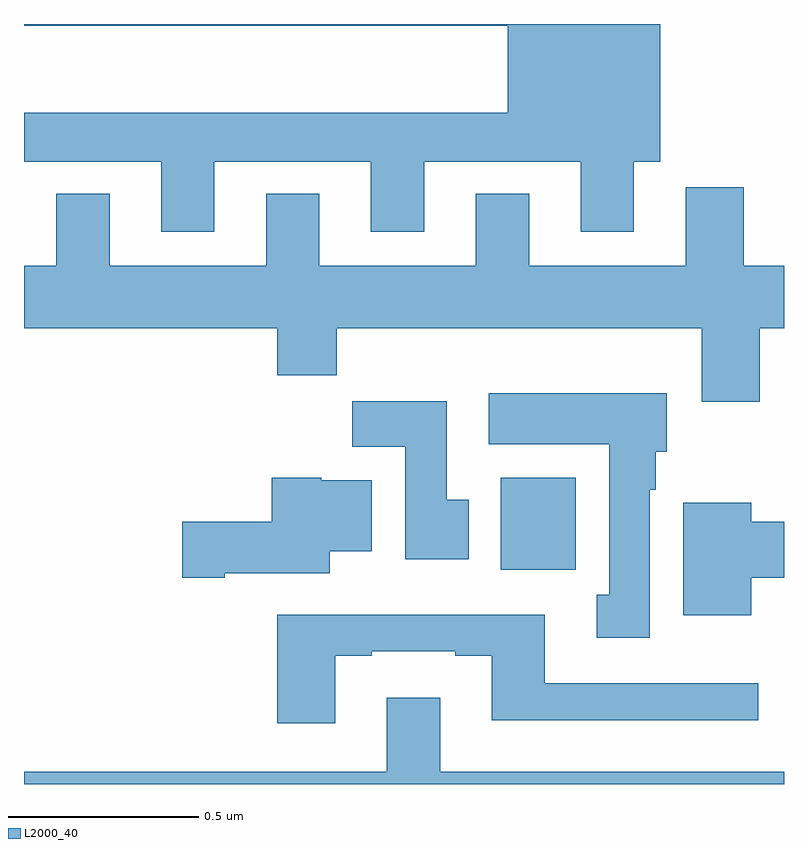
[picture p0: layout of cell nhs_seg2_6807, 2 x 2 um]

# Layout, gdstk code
import gdstk
lib = gdstk.Library(unit=1e-6, precision=1e-09)
def R(c, l, rs):  # rectangles x0, y0, x1, y1
    for r in rs: c.add(gdstk.rectangle(r[:2], r[2:], *l))
def P(c, l, *ps):  # polygons
    for p in ps: c.add(gdstk.Polygon(p, *l))
L2000_40 = (2000, 40)

nhs_seg2_6807 = lib.new_cell('nhs_seg2_6807')
R(nhs_seg2_6807, L2000_40, [(197.255,616.364,197.452,616.606)])
P(nhs_seg2_6807, L2000_40, [(196.501,617.438),(196.913,617.438),(196.913,617.253),(197.053,617.253),(197.053,617.438),(197.465,617.438),(197.465,617.253),(197.605,617.253),(197.605,617.438),(197.674,617.438),(197.674,617.8),(196,617.8),(196,617.795),(197.273,617.795),(197.273,617.566),(196,617.566),(196,617.438),(196.361,617.438),(196.361,617.253),(196.501,617.253)],
  [(197.936,617),(198,617),(198,617.164),(197.894,617.164),(197.894,617.371),(197.741,617.371),(197.741,617.164),(197.329,617.164),(197.329,617.353),(197.189,617.353),(197.189,617.164),(196.777,617.164),(196.777,617.353),(196.637,617.353),(196.637,617.164),(196.225,617.164),(196.225,617.353),(196.085,617.353),(196.085,617.164),(196,617.164),(196,617),(196.667,617),(196.667,616.876),(196.823,616.876),(196.823,617),(197.783,617),(197.783,616.806),(197.936,616.806)],
  [(197.647,616.574),(197.662,616.574),(197.662,616.674),(197.692,616.674),(197.692,616.828),(197.223,616.828),(197.223,616.694),(197.54,616.694),(197.54,616.298),(197.507,616.298),(197.507,616.185),(197.647,616.185)],
  [(197.17,616.548),(197.113,616.548),(197.113,616.807),(196.864,616.807),(196.864,616.688),(197.003,616.688),(197.003,616.392),(197.17,616.392)],
  [(196.528,616.355),(196.804,616.355),(196.804,616.412),(196.915,616.412),(196.915,616.6),(196.782,616.6),(196.782,616.606),(196.652,616.606),(196.652,616.49),(196.416,616.49),(196.416,616.343),(196.528,616.343)],
  [(197.914,616.343),(198,616.343),(198,616.49),(197.914,616.49),(197.914,616.54),(197.735,616.54),(197.735,616.244),(197.914,616.244)],
  [(196.819,616.137),(196.915,616.137),(196.915,616.149),(197.135,616.149),(197.135,616.137),(197.231,616.137),(197.231,615.968),(197.932,615.968),(197.932,616.065),(197.371,616.065),(197.371,616.246),(196.667,616.246),(196.667,615.96),(196.819,615.96)],
  [(198,615.832),(197.095,615.832),(197.095,616.027),(196.955,616.027),(196.955,615.832),(196,615.832),(196,615.8),(198,615.8)])

lib.write_gds('nhs_seg2_6807.gds')
